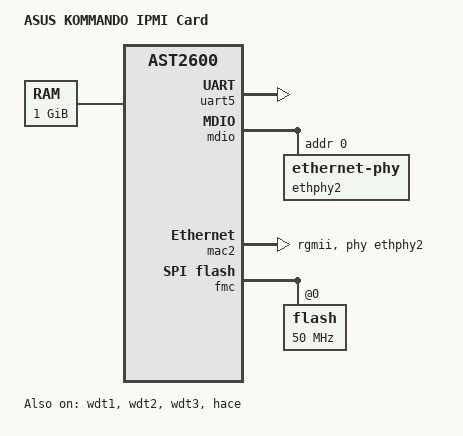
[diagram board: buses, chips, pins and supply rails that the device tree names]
/dts-v1/;

#include "ast2600-u-boot.dtsi"

/ {
	model = "ASUS KOMMANDO IPMI Card";
	compatible = "asus,ipmi-card", "aspeed,ast2600";

	memory {
		device_type = "memory";
		reg = <0x80000000 0x40000000>;
	};

	chosen {
		stdout-path = &uart5;
	};

	aliases {
		spi0 = &fmc;
		ethernet0 = &mac2;
	};

	cpus {
		cpu@0 {
			clock-frequency = <800000000>;
		};
		cpu@1 {
			clock-frequency = <800000000>;
		};
	};
};

&uart5 {
	u-boot,dm-pre-reloc;
	status = "okay";
};

&sdrammc {
	clock-frequency = <400000000>;
};

&wdt1 {
	status = "okay";
};

&wdt2 {
	status = "okay";
};

&wdt3 {
	status = "okay";
};

&mdio {
	status = "okay";
	pinctrl-names = "default";
	pinctrl-0 = <&pinctrl_mdio3_default>;
	#address-cells = <1>;
	#size-cells = <0>;

	ethphy2: ethernet-phy@2 {
		reg = <0>;
	};
};

&mac2 {
	status = "okay";
	phy-mode = "rgmii";
	phy-handle = <&ethphy2>;
	pinctrl-names = "default";
	pinctrl-0 = <&pinctrl_rgmii3_default>;
};

&fmc {
	status = "okay";

	pinctrl-names = "default";
	pinctrl-0 = <&pinctrl_fmcquad_default>;

	flash@0 {
		status = "okay";
		spi-max-frequency = <50000000>;
		spi-tx-bus-width = <4>;
		spi-rx-bus-width = <4>;
	};
};


&hace {
	u-boot,dm-pre-reloc;
	status = "okay";
};

&scu {
	mac2-clk-delay = <0x08 0x04
			  0x08 0x04
			  0x08 0x04>;
};
